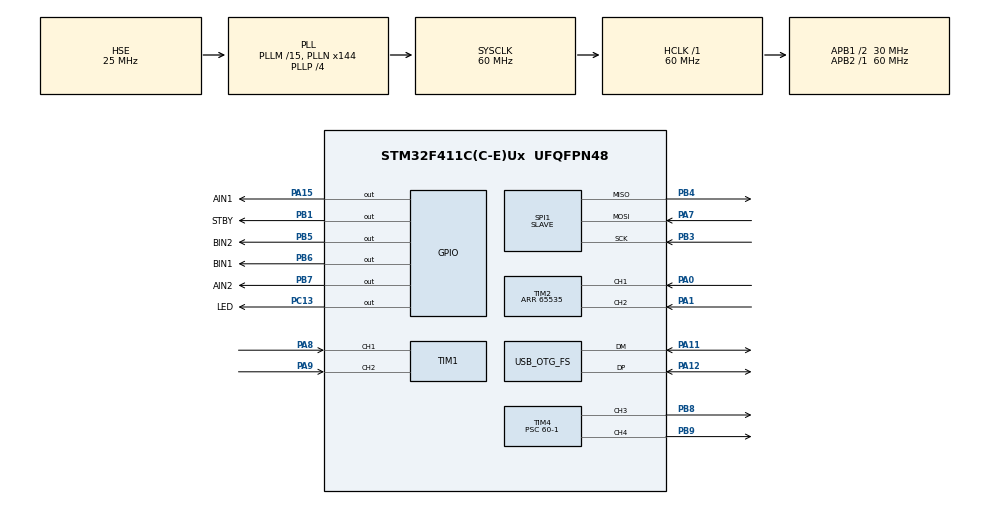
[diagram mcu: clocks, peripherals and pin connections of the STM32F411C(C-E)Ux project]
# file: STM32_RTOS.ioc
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Dma.Request0=SPI1_RX
Dma.Request1=SPI1_TX
Dma.SPI1_RX.0.Direction=DMA_PERIPH_TO_MEMORY
Dma.SPI1_RX.0.FIFOMode=DMA_FIFOMODE_DISABLE
Dma.SPI1_RX.0.Instance=DMA2_Stream0
Dma.SPI1_RX.0.MemDataAlignment=DMA_MDATAALIGN_BYTE
Dma.SPI1_RX.0.MemInc=DMA_MINC_ENABLE
Dma.SPI1_RX.0.Mode=DMA_CIRCULAR
Dma.SPI1_RX.0.PeriphDataAlignment=DMA_PDATAALIGN_BYTE
Dma.SPI1_RX.0.PeriphInc=DMA_PINC_DISABLE
Dma.SPI1_RX.0.Priority=DMA_PRIORITY_LOW
Dma.SPI1_TX.1.Direction=DMA_MEMORY_TO_PERIPH
Dma.SPI1_TX.1.FIFOMode=DMA_FIFOMODE_DISABLE
Dma.SPI1_TX.1.Instance=DMA2_Stream2
Dma.SPI1_TX.1.MemDataAlignment=DMA_MDATAALIGN_BYTE
Dma.SPI1_TX.1.MemInc=DMA_MINC_ENABLE
Dma.SPI1_TX.1.Mode=DMA_CIRCULAR
Dma.SPI1_TX.1.PeriphDataAlignment=DMA_PDATAALIGN_BYTE
Dma.SPI1_TX.1.PeriphInc=DMA_PINC_DISABLE
Dma.SPI1_TX.1.Priority=DMA_PRIORITY_LOW
FREERTOS.Events01=move,Dynamic,NULL;turn,Dynamic,NULL
FREERTOS.Tasks01=defaultTask,24,128,StartDefaultTask,Default,NULL,Dynamic,NULL,NULL;encoder_control,24,256,Start_encoder_control,Default,NULL,Dynamic,NULL,NULL;odometry_math,24,256,Start_odometry_math,Default,NULL,Dynamic,NULL,NULL;preempt_mission,16,256,Start_preempt_mission,Default,NULL,Dynamic,NULL,NULL;symple_command,16,256,Start_symple_command,Default,NULL,Dynamic,NULL,NULL;goto_coordenate,16,256,Start_goto_coordenates,Default,NULL,Dynamic,NULL,NULL;goto_angle,16,256,Start_goto_angle,Default,NULL,Dynamic,NULL,NULL
FREERTOS.configUSE_NEWLIB_REENTRANT=1
Mcu.Family=STM32F4
Mcu.Name=STM32F411C(C-E)Ux
Mcu.Package=UFQFPN48
NVIC.DMA2_Stream0_IRQn=true\:5\:0\:false\:false\:true\:true\:false\:true\:true
NVIC.DMA2_Stream2_IRQn=true\:5\:0\:false\:false\:true\:true\:false\:true\:true
NVIC.OTG_FS_IRQn=true\:5\:0\:false\:false\:true\:true\:false\:true\:true
NVIC.PriorityGroup=NVIC_PRIORITYGROUP_4
NVIC.TIM1_UP_TIM10_IRQn=true\:5\:0\:false\:false\:true\:false\:false\:true\:true
NVIC.TimeBase=TIM1_UP_TIM10_IRQn
NVIC.TimeBaseIP=TIM10
PA0-WKUP.Signal=S_TIM2_CH1_ETR
PA1.Signal=S_TIM2_CH2
PA11.Mode=Device_Only
PA11.Signal=USB_OTG_FS_DM
PA12.Mode=Device_Only
PA12.Signal=USB_OTG_FS_DP
PA15.GPIO_Label=AIN1
PA15.Signal=GPIO_Output
PA7.Mode=Full_Duplex_Slave
PA7.Signal=SPI1_MOSI
PA8.Signal=S_TIM1_CH1
PA9.Signal=S_TIM1_CH2
PB1.GPIO_Label=STBY
PB1.Signal=GPIO_Output
PB3.Mode=Full_Duplex_Slave
PB3.Signal=SPI1_SCK
PB4.Mode=Full_Duplex_Slave
PB4.Signal=SPI1_MISO
PB5.GPIO_Label=BIN2
PB5.Signal=GPIO_Output
PB6.GPIO_Label=BIN1
PB6.Signal=GPIO_Output
PB7.GPIO_Label=AIN2
PB7.Signal=GPIO_Output
PB8.Signal=S_TIM4_CH3
PB9.Signal=S_TIM4_CH4
PC13-ANTI_TAMP.GPIO_Label=LED
PC13-ANTI_TAMP.Signal=GPIO_Output
PC14-OSC32_IN.Mode=LSE-External-Oscillator
PC14-OSC32_IN.Signal=RCC_OSC32_IN
PC15-OSC32_OUT.Mode=LSE-External-Oscillator
PC15-OSC32_OUT.Signal=RCC_OSC32_OUT
PH0\ -\ OSC_IN.Mode=HSE-External-Oscillator
PH0\ -\ OSC_IN.Signal=RCC_OSC_IN
PH1\ -\ OSC_OUT.Mode=HSE-External-Oscillator
PH1\ -\ OSC_OUT.Signal=RCC_OSC_OUT
ProjectManager.HeapSize=0x200
ProjectManager.StackSize=0x400
ProjectManager.TargetToolchain=STM32CubeIDE
RCC.48MHZClocksFreq_Value=48000000
RCC.AHBFreq_Value=60000000
RCC.APB1CLKDivider=RCC_HCLK_DIV2
RCC.APB1Freq_Value=30000000
RCC.APB1TimFreq_Value=60000000
RCC.APB2Freq_Value=60000000
RCC.APB2TimFreq_Value=60000000
RCC.CortexFreq_Value=60000000
RCC.HCLKFreq_Value=60000000
RCC.HSE_VALUE=25000000
RCC.HSI_VALUE=16000000
RCC.PLLM=15
RCC.PLLN=144
RCC.PLLP=RCC_PLLP_DIV4
RCC.PLLQ=5
RCC.SYSCLKFreq_VALUE=60000000
RCC.SYSCLKSource=RCC_SYSCLKSOURCE_PLLCLK
RCC.VCOOutputFreq_Value=240000000
SH.S_TIM1_CH1.0=TIM1_CH1,Encoder_Interface
SH.S_TIM1_CH2.0=TIM1_CH2,Encoder_Interface
SH.S_TIM2_CH1_ETR.0=TIM2_CH1,Encoder_Interface
SH.S_TIM2_CH2.0=TIM2_CH2,Encoder_Interface
SH.S_TIM4_CH3.0=TIM4_CH3,PWM Generation3 CH3
SH.S_TIM4_CH4.0=TIM4_CH4,PWM Generation4 CH4
SPI1.Direction=SPI_DIRECTION_2LINES
SPI1.Mode=SPI_MODE_SLAVE
SPI1.VirtualType=VM_SLAVE
TIM1.EncoderMode=TIM_ENCODERMODE_TI12
TIM2.EncoderMode=TIM_ENCODERMODE_TI12
TIM2.Period=65535
TIM4.Channel-PWM\ Generation3\ CH3=TIM_CHANNEL_3
TIM4.Channel-PWM\ Generation4\ CH4=TIM_CHANNEL_4
TIM4.Period=1000
TIM4.Prescaler=60-1
USB_DEVICE.CLASS_NAME_FS=CDC
USB_DEVICE.VirtualMode=Cdc
USB_DEVICE.VirtualModeFS=Cdc_FS
USB_OTG_FS.VirtualMode=Device_Only
VP_FREERTOS_VS_CMSIS_V2.Mode=CMSIS_V2
VP_SYS_VS_tim10.Mode=TIM10
VP_USB_DEVICE_VS_USB_DEVICE_CDC_FS.Mode=CDC_FS
board=custom

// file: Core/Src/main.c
/* USER CODE BEGIN Header */
/**
  ******************************************************************************
  * @file           : main.c
  * @brief          : Main program body
  ******************************************************************************
  * @attention
  *
  * Copyright (c) 2024 STMicroelectronics.
  * All rights reserved.
  *
  * This software is licensed under terms that can be found in the LICENSE file
  * in the root directory of this software component.
  * If no LICENSE file comes with this software, it is provided AS-IS.
  *
  ******************************************************************************
  */
/* USER CODE END Header */
#include "main.h"
#include "cmsis_os.h"
#include "usb_device.h"

/* USER CODE BEGIN Includes */
#include <string.h>
#include <stdio.h>
#include "usbd_cdc_if.h"
#include <math.h>
/* USER CODE END Includes */

/* USER CODE BEGIN PTD */
typedef union {
	uint8_t buff[4];
	int32_t value;
} packet_buffer32_t;
typedef union {
	uint8_t buff[2];
	int16_t value;
} packet_buffer16_t;
/* USER CODE END PTD */

/* USER CODE BEGIN PD */
#define BUFFER_SIZE 18

#define PI 3.141592653589
#define SHAFT_PULSE_PER_ROT 28.0
#define GEAR_RATIO 210.0

#define PULSE_PER_REVOLUTION (GEAR_RATIO*SHAFT_PULSE_PER_ROT)
#define WHEEL_DIAMETER 45.5 //mm
#define WHEEL_DISTANCE 160.5 //mm
#define WHEEL_CIRCUMFERENCE PI * WHEEL_DIAMETER
#define DIST_CONVERSION WHEEL_CIRCUMFERENCE/PULSE_PER_REVOLUTION
#define WHEEL_RADIUS WHEEL_DIAMETER/2

/* USER CODE END PD */

SPI_HandleTypeDef hspi1;
DMA_HandleTypeDef hdma_spi1_rx;
DMA_HandleTypeDef hdma_spi1_tx;

TIM_HandleTypeDef htim1;
TIM_HandleTypeDef htim2;
TIM_HandleTypeDef htim4;

/* Definitions for defaultTask */
osThreadId_t defaultTaskHandle;
const osThreadAttr_t defaultTask_attributes = {
  .name = "defaultTask",
  .stack_size = 128 * 4,
  .priority = (osPriority_t) osPriorityNormal,
};
/* Definitions for encoder_control */
osThreadId_t encoder_controlHandle;
const osThreadAttr_t encoder_control_attributes = {
  .name = "encoder_control",
  .stack_size = 256 * 4,
  .priority = (osPriority_t) osPriorityNormal,
};
/* Definitions for odometry_math */
osThreadId_t odometry_mathHandle;
const osThreadAttr_t odometry_math_attributes = {
  .name = "odometry_math",
  .stack_size = 256 * 4,
  .priority = (osPriority_t) osPriorityNormal,
};
/* Definitions for preempt_mission */
osThreadId_t preempt_missionHandle;
const osThreadAttr_t preempt_mission_attributes = {
  .name = "preempt_mission",
  .stack_size = 256 * 4,
  .priority = (osPriority_t) osPriorityBelowNormal,
};
/* Definitions for symple_command */
osThreadId_t symple_commandHandle;
const osThreadAttr_t symple_command_attributes = {
  .name = "symple_command",
  .stack_size = 256 * 4,
  .priority = (osPriority_t) osPriorityBelowNormal,
};
/* Definitions for goto_coordenate */
osThreadId_t goto_coordenateHandle;
const osThreadAttr_t goto_coordenate_attributes = {
  .name = "goto_coordenate",
  .stack_size = 256 * 4,
  .priority = (osPriority_t) osPriorityBelowNormal,
};
/* Definitions for goto_angle */
osThreadId_t goto_angleHandle;
const osThreadAttr_t goto_angle_attributes = {
  .name = "goto_angle",
  .stack_size = 256 * 4,
  .priority = (osPriority_t) osPriorityBelowNormal,
};
/* Definitions for move */
osEventFlagsId_t moveHandle;
const osEventFlagsAttr_t move_attributes = {
  .name = "move"
};
/* Definitions for turn */
osEventFlagsId_t turnHandle;
const osEventFlagsAttr_t turn_attributes = {
  .name = "turn"
};
/* USER CODE BEGIN PV */
uint8_t RxBuffer[BUFFER_SIZE];
uint8_t TxBuffer[BUFFER_SIZE];

char ESP_mission = 'x';

int counter_R_encoder = 0;
int counter_L_encoder = 0;
int counter_R_ = 0;
int counter_L_ = 0;
int counter_error = 0;

int32_t delta_R;
int32_t delta_L;

double delta_R_encoder = 0;
double delta_L_encoder = 0;
double delta_distance = 0;
double delta_angle = 0;
double delta_x = 0;
double delta_y = 0;

double double_x_coord = 0;
double double_y_coord = 0;
double double_distance_total = 0;
double double_angle_rotation = 0;

int distance_target;
int true_distance_target;
int true_angle_rotation;
int true_angle_target;

packet_buffer16_t distance_total;
packet_buffer16_t x_coord;
packet_buffer16_t y_coord;
packet_buffer16_t angle_rotation;
packet_buffer16_t angle_target;
packet_buffer16_t x_target;
packet_buffer16_t y_target;
uint8_t velocity;
uint16_t speed;
uint16_t L_speed;
uint16_t R_speed;

int i = 0;
/* USER CODE END PV */

void SystemClock_Config(void);
static void MX_GPIO_Init(void);
static void MX_DMA_Init(void);
static void MX_SPI1_Init(void);
static void MX_TIM1_Init(void);
static void MX_TIM2_Init(void);
static void MX_TIM4_Init(void);
void StartDefaultTask(void *argument);
void Start_encoder_control(void *argument);
void Start_odometry_math(void *argument);
void Start_preempt_mission(void *argument);
void Start_symple_command(void *argument);
void Start_goto_coordenates(void *argument);
void Start_goto_angle(void *argument);

int main(void)
{

  /* MCU Configuration--------------------------------------------------------*/

  /* Reset of all peripherals, Initializes the Flash interface and the Systick. */
  HAL_Init();

  /* Configure the system clock */
  SystemClock_Config();

  /* Initialize all configured peripherals */
  MX_GPIO_Init();
  MX_DMA_Init();
  MX_SPI1_Init();
  MX_TIM1_Init();
  MX_TIM2_Init();
  MX_TIM4_Init();
  /* USER CODE BEGIN 2 */
  HAL_TIM_Encoder_Start(&htim1, TIM_CHANNEL_ALL);
  HAL_TIM_Encoder_Start(&htim2, TIM_CHANNEL_ALL);
  HAL_SPI_TransmitReceive_DMA(&hspi1, TxBuffer, RxBuffer, BUFFER_SIZE);

  HAL_TIM_Base_Start(&htim4);
  HAL_TIM_PWM_Start(&htim4, TIM_CHANNEL_3);
  HAL_TIM_PWM_Start(&htim4, TIM_CHANNEL_4);

  HAL_GPIO_WritePin(STBY_GPIO_Port, STBY_Pin, 1);

  TIM1->CNT = 1000;
  TIM2->CNT = 1000;
  /* USER CODE END 2 */

  /* Init scheduler */
  osKernelInitialize();

  /* Create the thread(s) */
  /* creation of defaultTask */
  defaultTaskHandle = osThreadNew(StartDefaultTask, NULL, &defaultTask_attributes);

  /* creation of encoder_control */
  encoder_controlHandle = osThreadNew(Start_encoder_control, NULL, &encoder_control_attributes);

  /* creation of odometry_math */
  odometry_mathHandle = osThreadNew(Start_odometry_math, NULL, &odometry_math_attributes);

  /* creation of preempt_mission */
  preempt_missionHandle = osThreadNew(Start_preempt_mission, NULL, &preempt_mission_attributes);

  /* creation of symple_command */
  symple_commandHandle = osThreadNew(Start_symple_command, NULL, &symple_command_attributes);

  /* creation of goto_coordenate */
  goto_coordenateHandle = osThreadNew(Start_goto_coordenates, NULL, &goto_coordenate_attributes);

  /* creation of goto_angle */
  goto_angleHandle = osThreadNew(Start_goto_angle, NULL, &goto_angle_attributes);

  /* Create the event(s) */
  /* creation of move */
  moveHandle = osEventFlagsNew(&move_attributes);

  /* creation of turn */
  turnHandle = osEventFlagsNew(&turn_attributes);

  /* Start scheduler */
  osKernelStart();

  /* We should never get here as control is now taken by the scheduler */

  /* Infinite loop */
  while (1)
  {

  }
}

void SystemClock_Config(void)
{
  RCC_OscInitTypeDef RCC_OscInitStruct = {0};
  RCC_ClkInitTypeDef RCC_ClkInitStruct = {0};

  /** Configure the main internal regulator output voltage
  */
  __HAL_RCC_PWR_CLK_ENABLE();
  __HAL_PWR_VOLTAGESCALING_CONFIG(PWR_REGULATOR_VOLTAGE_SCALE1);

  /** Initializes the RCC Oscillators according to the specified parameters
  * in the RCC_OscInitTypeDef structure.
  */
  RCC_OscInitStruct.OscillatorType = RCC_OSCILLATORTYPE_HSE;
  RCC_OscInitStruct.HSEState = RCC_HSE_ON;
  RCC_OscInitStruct.PLL.PLLState = RCC_PLL_ON;
  RCC_OscInitStruct.PLL.PLLSource = RCC_PLLSOURCE_HSE;
  RCC_OscInitStruct.PLL.PLLM = 15;
  RCC_OscInitStruct.PLL.PLLN = 144;
  RCC_OscInitStruct.PLL.PLLP = RCC_PLLP_DIV4;
  RCC_OscInitStruct.PLL.PLLQ = 5;
  if (HAL_RCC_OscConfig(&RCC_OscInitStruct) != HAL_OK)
  {
    Error_Handler();
  }

  /** Initializes the CPU, AHB and APB buses clocks
  */
  RCC_ClkInitStruct.ClockType = RCC_CLOCKTYPE_HCLK|RCC_CLOCKTYPE_SYSCLK
                              |RCC_CLOCKTYPE_PCLK1|RCC_CLOCKTYPE_PCLK2;
  RCC_ClkInitStruct.SYSCLKSource = RCC_SYSCLKSOURCE_PLLCLK;
  RCC_ClkInitStruct.AHBCLKDivider = RCC_SYSCLK_DIV1;
  RCC_ClkInitStruct.APB1CLKDivider = RCC_HCLK_DIV2;
  RCC_ClkInitStruct.APB2CLKDivider = RCC_HCLK_DIV1;

  if (HAL_RCC_ClockConfig(&RCC_ClkInitStruct, FLASH_LATENCY_1) != HAL_OK)
  {
    Error_Handler();
  }
}

static void MX_SPI1_Init(void)
{

  /* SPI1 parameter configuration*/
  hspi1.Instance = SPI1;
  hspi1.Init.Mode = SPI_MODE_SLAVE;
  hspi1.Init.Direction = SPI_DIRECTION_2LINES;
  hspi1.Init.DataSize = SPI_DATASIZE_8BIT;
  hspi1.Init.CLKPolarity = SPI_POLARITY_LOW;
  hspi1.Init.CLKPhase = SPI_PHASE_1EDGE;
  hspi1.Init.NSS = SPI_NSS_SOFT;
  hspi1.Init.FirstBit = SPI_FIRSTBIT_MSB;
  hspi1.Init.TIMode = SPI_TIMODE_DISABLE;
  hspi1.Init.CRCCalculation = SPI_CRCCALCULATION_DISABLE;
  hspi1.Init.CRCPolynomial = 10;
  if (HAL_SPI_Init(&hspi1) != HAL_OK)
  {
    Error_Handler();
  }

}

static void MX_TIM1_Init(void)
{

  TIM_Encoder_InitTypeDef sConfig = {0};
  TIM_MasterConfigTypeDef sMasterConfig = {0};

  htim1.Instance = TIM1;
  htim1.Init.Prescaler = 0;
  htim1.Init.CounterMode = TIM_COUNTERMODE_UP;
  htim1.Init.Period = 65535;
  htim1.Init.ClockDivision = TIM_CLOCKDIVISION_DIV1;
  htim1.Init.RepetitionCounter = 0;
  htim1.Init.AutoReloadPreload = TIM_AUTORELOAD_PRELOAD_DISABLE;
  sConfig.EncoderMode = TIM_ENCODERMODE_TI12;
  sConfig.IC1Polarity = TIM_ICPOLARITY_RISING;
  sConfig.IC1Selection = TIM_ICSELECTION_DIRECTTI;
  sConfig.IC1Prescaler = TIM_ICPSC_DIV1;
  sConfig.IC1Filter = 0;
  sConfig.IC2Polarity = TIM_ICPOLARITY_RISING;
  sConfig.IC2Selection = TIM_ICSELECTION_DIRECTTI;
  sConfig.IC2Prescaler = TIM_ICPSC_DIV1;
  sConfig.IC2Filter = 0;
  if (HAL_TIM_Encoder_Init(&htim1, &sConfig) != HAL_OK)
  {
    Error_Handler();
  }
  sMasterConfig.MasterOutputTrigger = TIM_TRGO_RESET;
  sMasterConfig.MasterSlaveMode = TIM_MASTERSLAVEMODE_DISABLE;
  if (HAL_TIMEx_MasterConfigSynchronization(&htim1, &sMasterConfig) != HAL_OK)
  {
    Error_Handler();
  }

}

static void MX_TIM2_Init(void)
{

  TIM_Encoder_InitTypeDef sConfig = {0};
  TIM_MasterConfigTypeDef sMasterConfig = {0};

  htim2.Instance = TIM2;
  htim2.Init.Prescaler = 0;
  htim2.Init.CounterMode = TIM_COUNTERMODE_UP;
  htim2.Init.Period = 65535;
  htim2.Init.ClockDivision = TIM_CLOCKDIVISION_DIV1;
  htim2.Init.AutoReloadPreload = TIM_AUTORELOAD_PRELOAD_DISABLE;
  sConfig.EncoderMode = TIM_ENCODERMODE_TI12;
  sConfig.IC1Polarity = TIM_ICPOLARITY_RISING;
  sConfig.IC1Selection = TIM_ICSELECTION_DIRECTTI;
  sConfig.IC1Prescaler = TIM_ICPSC_DIV1;
  sConfig.IC1Filter = 0;
  sConfig.IC2Polarity = TIM_ICPOLARITY_RISING;
  sConfig.IC2Selection = TIM_ICSELECTION_DIRECTTI;
  sConfig.IC2Prescaler = TIM_ICPSC_DIV1;
  sConfig.IC2Filter = 0;
  if (HAL_TIM_Encoder_Init(&htim2, &sConfig) != HAL_OK)
  {
    Error_Handler();
  }
  sMasterConfig.MasterOutputTrigger = TIM_TRGO_RESET;
  sMasterConfig.MasterSlaveMode = TIM_MASTERSLAVEMODE_DISABLE;
  if (HAL_TIMEx_MasterConfigSynchronization(&htim2, &sMasterConfig) != HAL_OK)
  {
    Error_Handler();
  }

}

static void MX_TIM4_Init(void)
{

  TIM_MasterConfigTypeDef sMasterConfig = {0};
  TIM_OC_InitTypeDef sConfigOC = {0};

  htim4.Instance = TIM4;
  htim4.Init.Prescaler = 60-1;
  htim4.Init.CounterMode = TIM_COUNTERMODE_UP;
  htim4.Init.Period = 1000;
  htim4.Init.ClockDivision = TIM_CLOCKDIVISION_DIV1;
  htim4.Init.AutoReloadPreload = TIM_AUTORELOAD_PRELOAD_DISABLE;
  if (HAL_TIM_PWM_Init(&htim4) != HAL_OK)
  {
    Error_Handler();
  }
  sMasterConfig.MasterOutputTrigger = TIM_TRGO_RESET;
  sMasterConfig.MasterSlaveMode = TIM_MASTERSLAVEMODE_DISABLE;
  if (HAL_TIMEx_MasterConfigSynchronization(&htim4, &sMasterConfig) != HAL_OK)
  {
    Error_Handler();
  }
  sConfigOC.OCMode = TIM_OCMODE_PWM1;
  sConfigOC.Pulse = 0;
  sConfigOC.OCPolarity = TIM_OCPOLARITY_HIGH;
  sConfigOC.OCFastMode = TIM_OCFAST_DISABLE;
  if (HAL_TIM_PWM_ConfigChannel(&htim4, &sConfigOC, TIM_CHANNEL_3) != HAL_OK)
  {
    Error_Handler();
  }
  if (HAL_TIM_PWM_ConfigChannel(&htim4, &sConfigOC, TIM_CHANNEL_4) != HAL_OK)
  {
    Error_Handler();
  }
  HAL_TIM_MspPostInit(&htim4);

}

static void MX_DMA_Init(void)
{

  /* DMA controller clock enable */
  __HAL_RCC_DMA2_CLK_ENABLE();

  /* DMA interrupt init */
  /* DMA2_Stream0_IRQn interrupt configuration */
  HAL_NVIC_SetPriority(DMA2_Stream0_IRQn, 5, 0);
  HAL_NVIC_EnableIRQ(DMA2_Stream0_IRQn);
  /* DMA2_Stream2_IRQn interrupt configuration */
  HAL_NVIC_SetPriority(DMA2_Stream2_IRQn, 5, 0);
  HAL_NVIC_EnableIRQ(DMA2_Stream2_IRQn);

}

static void MX_GPIO_Init(void)
{
  GPIO_InitTypeDef GPIO_InitStruct = {0};

  /* GPIO Ports Clock Enable */
  __HAL_RCC_GPIOC_CLK_ENABLE();
  __HAL_RCC_GPIOH_CLK_ENABLE();
  __HAL_RCC_GPIOA_CLK_ENABLE();
  __HAL_RCC_GPIOB_CLK_ENABLE();

  /*Configure GPIO pin Output Level */
  HAL_GPIO_WritePin(LED_GPIO_Port, LED_Pin, GPIO_PIN_RESET);

  /*Configure GPIO pin Output Level */
  HAL_GPIO_WritePin(GPIOB, STBY_Pin|BIN2_Pin|BIN1_Pin|AIN2_Pin, GPIO_PIN_RESET);

  /*Configure GPIO pin Output Level */
  HAL_GPIO_WritePin(AIN1_GPIO_Port, AIN1_Pin, GPIO_PIN_RESET);

  /*Configure GPIO pin : LED_Pin */
  GPIO_InitStruct.Pin = LED_Pin;
  GPIO_InitStruct.Mode = GPIO_MODE_OUTPUT_PP;
  GPIO_InitStruct.Pull = GPIO_NOPULL;
  GPIO_InitStruct.Speed = GPIO_SPEED_FREQ_LOW;
  HAL_GPIO_Init(LED_GPIO_Port, &GPIO_InitStruct);

  /*Configure GPIO pins : STBY_Pin BIN2_Pin BIN1_Pin AIN2_Pin */
  GPIO_InitStruct.Pin = STBY_Pin|BIN2_Pin|BIN1_Pin|AIN2_Pin;
  GPIO_InitStruct.Mode = GPIO_MODE_OUTPUT_PP;
  GPIO_InitStruct.Pull = GPIO_NOPULL;
  GPIO_InitStruct.Speed = GPIO_SPEED_FREQ_LOW;
  HAL_GPIO_Init(GPIOB, &GPIO_InitStruct);

  /*Configure GPIO pin : AIN1_Pin */
  GPIO_InitStruct.Pin = AIN1_Pin;
  GPIO_InitStruct.Mode = GPIO_MODE_OUTPUT_PP;
  GPIO_InitStruct.Pull = GPIO_NOPULL;
  GPIO_InitStruct.Speed = GPIO_SPEED_FREQ_LOW;
  HAL_GPIO_Init(AIN1_GPIO_Port, &GPIO_InitStruct);

}

/* USER CODE BEGIN 4 */
void HAL_SPI_TxRxCpltCallback(SPI_HandleTypeDef * hspi){
	HAL_GPIO_TogglePin(LED_GPIO_Port, LED_Pin);

	switch (RxBuffer[4]) {
		case 'F':
			ESP_mission = 'F';
			speed = ((uint16_t) RxBuffer[5]) *10;
			L_speed = ((uint16_t) RxBuffer[5]) *10;
			R_speed = ((uint16_t) RxBuffer[5]) *10;
			osThreadFlagsSet(preempt_missionHandle, 0x01);
			break;
		case 'B':
			ESP_mission = 'B';
			speed = ((uint16_t) RxBuffer[5]) *10;
			L_speed = ((uint16_t) RxBuffer[5]) *10;
			R_speed = ((uint16_t) RxBuffer[5]) *10;
			break;
		case 'L':
			ESP_mission = 'L';
			speed = ((uint16_t) RxBuffer[5]) *10;
			L_speed = ((uint16_t) RxBuffer[5]) *10;
			R_speed = ((uint16_t) RxBuffer[5]) *10;
			break;
		case 'R':
			ESP_mission = 'R';
			speed = ((uint16_t) RxBuffer[5]) *10;
			L_speed = ((uint16_t) RxBuffer[5]) *10;
			R_speed = ((uint16_t) RxBuffer[5]) *10;
			break;
		case 'S':
			ESP_mission = 'S';
			speed = ((uint16_t) RxBuffer[5]) *10;
			L_speed = ((uint16_t) RxBuffer[5]) *10;
			R_speed = ((uint16_t) RxBuffer[5]) *10;
			break;
		case 'T':
			ESP_mission = 'T';
			speed = ((uint16_t) RxBuffer[5]) *10;
			L_speed = ((uint16_t) RxBuffer[5]) *10;
			R_speed = ((uint16_t) RxBuffer[5]) *10;
			angle_target.buff[0] = RxBuffer[6];
			angle_target.buff[1] = RxBuffer[7];

			osThreadFlagsSet(preempt_missionHandle, 0x01);
			break;
		case 'M':
			ESP_mission = 'M';
			speed = ((uint16_t) RxBuffer[5]) *10;
			L_speed = ((uint16_t) RxBuffer[5]) *10;
			R_speed = ((uint16_t) RxBuffer[5]) *10;
			x_target.buff[0] = RxBuffer[6];
			x_target.buff[1] = RxBuffer[7];
			y_target.buff[0] = RxBuffer[8];
			y_target.buff[1] = RxBuffer[9];

			osThreadFlagsSet(preempt_missionHandle, 0x01);
			break;
		case 'D':
			TxBuffer[4] = 'D';
			TxBuffer[5] = distance_total.buff[0];
			TxBuffer[6] = distance_total.buff[1];
			break;
		case 'C':
			TxBuffer[4] = 'C';
			TxBuffer[5] = x_coord.buff[0];
			TxBuffer[6] = x_coord.buff[1];
			TxBuffer[7] = y_coord.buff[0];
			TxBuffer[8] = y_coord.buff[1];
			break;
		case 'V':
			TxBuffer[4] = 'V';
			TxBuffer[5] = velocity;
			break;
		case 'P':
			TxBuffer[4] = 'P';
			TxBuffer[5] = x_coord.buff[0];
			TxBuffer[6] = x_coord.buff[1];
			TxBuffer[7] = y_coord.buff[0];
			TxBuffer[8] = y_coord.buff[1];
			TxBuffer[9] = angle_rotation.buff[0];
			TxBuffer[10] = angle_rotation.buff[1];
			break;
		default:
			//ESP_mission = 'x';
			break;
		}

}
/* USER CODE END 4 */

void StartDefaultTask(void *argument)
{
  /* init code for USB_DEVICE */
  MX_USB_DEVICE_Init();
  for(;;)
  {
    osDelay(1);
  }
}

void Start_encoder_control(void *argument)
{
  /* USER CODE BEGIN Start_encoder_control */
//	int R_counter = 0;
//	int L_counter = 0;
//	int delta_R_counter = 0;
//	int delta_L_counter = 0;
//	int velocity_t = 0;

  /* Infinite loop */
  for(;;)
  {
	/*delta_R_counter = TIM2->CNT - R_counter;
	delta_L_counter = TIM1->CNT - L_counter;
	R_counter = TIM2->CNT;
	L_counter = TIM1->CNT;

	if(abs(delta_R_counter) > 60000){
	  if(delta_R_counter < 0){
		  delta_R_encoder = - (65535 + delta_R_counter);
	  } else{
		  delta_R_encoder = - (delta_R_counter - 65535);
	  }
	}else{
		delta_R_encoder = - delta_R_counter;
	}
	  if(abs(delta_L_counter) > 60000){
		  if(delta_L_counter < 0){
			  delta_L_encoder = - (65535 + delta_L_counter);
		  } else{
			  delta_L_encoder = - (delta_L_counter - 65535);
		  }
	  }else{
		delta_L_encoder = - delta_L_counter;
	  }

	  counter_R_encoder += delta_R_encoder;
	  counter_L_encoder += delta_L_encoder;*/

	  delta_L = (int32_t) (TIM1->CNT - 1000);
	  delta_R = (int32_t) (TIM2->CNT - 1000);
	  TIM1->CNT = 1000;
	  TIM2->CNT = 1000;

	  float d_L = delta_L*DIST_CONVERSION;
	  float d_R = delta_R*DIST_CONVERSION;

	  float d = (d_L + d_R)/2;
	  float d_theta = (d_R - d_L)/WHEEL_DISTANCE;

	  double_x_coord += d * cos(double_angle_rotation + (d_theta/2));
	  double_y_coord += d * sin(double_angle_rotation + (d_theta/2));

	  double_angle_rotation += d_theta;
	  if(double_angle_rotation > 2*PI){
		  double_angle_rotation -= 2*PI;
	  }
	  if(double_angle_rotation < -2*PI){
		  double_angle_rotation += 2*PI;
	  }

	  angle_rotation.value = (int16_t) (double_angle_rotation *180 / PI);
	  x_coord.value = (int16_t) double_x_coord;
	  y_coord.value = (int16_t) double_y_coord;

	  double_distance_total += d;
	  distance_total.value = (int16_t) double_distance_total;

	  /*delta_angle = (double) (((delta_R_encoder - delta_L_encoder) * 0.065) / 1.6);
	  double_angle_rotation += delta_angle;
	  angle_rotation.value = (int16_t) double_angle_rotation;

	  delta_distance = (double) (((delta_R_encoder + delta_L_encoder) * 0.12) / 2);
	  double_distance_total += delta_distance;
	  distance_total.value = (int16_t) double_distance_total;

	  delta_x = (double) (delta_distance * cos(double_angle_rotation * M_PI / 180));
      delta_y = (double) (delta_distance * sin(double_angle_rotation * M_PI / 180));
	  double_x_coord += delta_x;
	  double_y_coord += delta_y;
	  x_coord.value = (int16_t) double_x_coord;
	  y_coord.value = (int16_t) double_y_coord;*/

//	  velocity = (int) (delta_distance / (HAL_GetTick() - velocity_t));
//	  velocity_t = HAL_GetTick();

	osDelay(10);
  }
  /* USER CODE END Start_encoder_control */
}

void Start_odometry_math(void *argument)
{
  for(;;)
  {
	  osDelay(1);
  }
}

void Start_preempt_mission(void *argument)
{
  /* USER CODE BEGIN Start_preempt_mission */
  /* Infinite loop */
  for(;;)
  {
	  osThreadFlagsWait(0x01, osFlagsWaitAny, osWaitForever);
	  if(ESP_mission == 'M'){
		angle_target.value = (int) ((atan2(y_target.value,x_target.value)* 180 / M_PI) + angle_rotation.value);
		distance_target = (int) (sqrt(pow(y_target.value, 2) + pow(x_target.value,2)) + distance_total.value);

		osThreadResume(goto_coordenateHandle);
		osThreadResume(goto_angleHandle);
	  }else if(ESP_mission == 'T'){
		osThreadResume(goto_angleHandle);
	  }else if(ESP_mission == 'F'){
		angle_target.value = angle_rotation.value;
		osThreadResume(goto_angleHandle);
	  }

    osDelay(1);
  }
  /* USER CODE END Start_preempt_mission */
}

void Start_symple_command(void *argument)
{
  /* USER CODE BEGIN Start_symple_command */
  /* Infinite loop */
  for(;;)
  {
	switch(ESP_mission){
	case 'F':
	  HAL_GPIO_WritePin(AIN1_GPIO_Port, AIN1_Pin, 1);
	  HAL_GPIO_WritePin(AIN2_GPIO_Port, AIN2_Pin, 0);
	  HAL_GPIO_WritePin(BIN1_GPIO_Port, BIN1_Pin, 0);
	  HAL_GPIO_WritePin(BIN2_GPIO_Port, BIN2_Pin, 1);
	  __HAL_TIM_SET_COMPARE(&htim4, TIM_CHANNEL_3, L_speed);
	  __HAL_TIM_SET_COMPARE(&htim4, TIM_CHANNEL_4, R_speed);
		break;
	case 'B':
	  HAL_GPIO_WritePin(AIN1_GPIO_Port, AIN1_Pin, 0);
	  HAL_GPIO_WritePin(AIN2_GPIO_Port, AIN2_Pin, 1);
	  HAL_GPIO_WritePin(BIN1_GPIO_Port, BIN1_Pin, 1);
	  HAL_GPIO_WritePin(BIN2_GPIO_Port, BIN2_Pin, 0);
	  __HAL_TIM_SET_COMPARE(&htim4, TIM_CHANNEL_3, L_speed);
	  __HAL_TIM_SET_COMPARE(&htim4, TIM_CHANNEL_4, R_speed);
		break;
	case 'L':
		  HAL_GPIO_WritePin(AIN1_GPIO_Port, AIN1_Pin, 0);
		  HAL_GPIO_WritePin(AIN2_GPIO_Port, AIN2_Pin, 1);
		  HAL_GPIO_WritePin(BIN1_GPIO_Port, BIN1_Pin, 0);
		  HAL_GPIO_WritePin(BIN2_GPIO_Port, BIN2_Pin, 1);

	  __HAL_TIM_SET_COMPARE(&htim4, TIM_CHANNEL_3, L_speed);
	  __HAL_TIM_SET_COMPARE(&htim4, TIM_CHANNEL_4, R_speed);
		break;
	case 'R':
		  HAL_GPIO_WritePin(AIN1_GPIO_Port, AIN1_Pin, 1);
		  HAL_GPIO_WritePin(AIN2_GPIO_Port, AIN2_Pin, 0);
		  HAL_GPIO_WritePin(BIN1_GPIO_Port, BIN1_Pin, 1);
		  HAL_GPIO_WritePin(BIN2_GPIO_Port, BIN2_Pin, 0);
	  __HAL_TIM_SET_COMPARE(&htim4, TIM_CHANNEL_3, L_speed);
	  __HAL_TIM_SET_COMPARE(&htim4, TIM_CHANNEL_4, R_speed);
		break;
	case 'S':
	  HAL_GPIO_WritePin(AIN1_GPIO_Port, AIN1_Pin, 0);
	  HAL_GPIO_WritePin(AIN2_GPIO_Port, AIN2_Pin, 0);
	  HAL_GPIO_WritePin(BIN1_GPIO_Port, BIN1_Pin, 0);
	  HAL_GPIO_WritePin(BIN2_GPIO_Port, BIN2_Pin, 0);
	  __HAL_TIM_SET_COMPARE(&htim4, TIM_CHANNEL_3, L_speed);
	  __HAL_TIM_SET_COMPARE(&htim4, TIM_CHANNEL_4, R_speed);
	  osThreadSuspend(goto_angleHandle);
		break;
	default:
		break;
	}

    osDelay(10);
  }
  /* USER CODE END Start_symple_command */
}

void Start_goto_coordenates(void *argument)
{
  /* USER CODE BEGIN Start_goto_coordenates */
  osThreadSuspend(goto_coordenateHandle);
  /* Infinite loop */
  for(;;)
  {
	if(ESP_mission == 'M'){
		true_distance_target = -(distance_total.value - distance_target);
		if(!(true_distance_target <= 10) || !(true_distance_target >= -10)){
			HAL_GPIO_WritePin(AIN1_GPIO_Port, AIN1_Pin, 1);
			HAL_GPIO_WritePin(AIN2_GPIO_Port, AIN2_Pin, 0);
			HAL_GPIO_WritePin(BIN1_GPIO_Port, BIN1_Pin, 0);
			HAL_GPIO_WritePin(BIN2_GPIO_Port, BIN2_Pin, 1);
			__HAL_TIM_SET_COMPARE(&htim4, TIM_CHANNEL_3, L_speed);
			__HAL_TIM_SET_COMPARE(&htim4, TIM_CHANNEL_4, R_speed);
		  } else {
			HAL_GPIO_WritePin(AIN1_GPIO_Port, AIN1_Pin, 0);
			HAL_GPIO_WritePin(AIN2_GPIO_Port, AIN2_Pin, 0);
			HAL_GPIO_WritePin(BIN1_GPIO_Port, BIN1_Pin, 0);
			HAL_GPIO_WritePin(BIN2_GPIO_Port, BIN2_Pin, 0);
			__HAL_TIM_SET_COMPARE(&htim4, TIM_CHANNEL_3, 0);
			__HAL_TIM_SET_COMPARE(&htim4, TIM_CHANNEL_4, 0);
			osThreadSuspend(goto_coordenateHandle);
			osThreadSuspend(goto_angleHandle);
		  }

		osDelay(20);
	}

  }
  /* USER CODE END Start_goto_coordenates */
}

void Start_goto_angle(void *argument)
{
  /* USER CODE BEGIN Start_goto_angle */
  osThreadSuspend(goto_angleHandle);
  int direction_adjustment = 0;
  /* Infinite loop */
  for(;;)
  {
	if(ESP_mission == 'M'){
		true_angle_target = - (angle_rotation.value - angle_target.value);
		if(!(true_angle_target <= 1) || !(true_angle_target >= -1)){
		  if((true_angle_target) > 0){
			HAL_GPIO_WritePin(AIN1_GPIO_Port, AIN1_Pin, 0);
			HAL_GPIO_WritePin(AIN2_GPIO_Port, AIN2_Pin, 1);
			HAL_GPIO_WritePin(BIN1_GPIO_Port, BIN1_Pin, 0);
			HAL_GPIO_WritePin(BIN2_GPIO_Port, BIN2_Pin, 1);
		  }else {
			HAL_GPIO_WritePin(AIN1_GPIO_Port, AIN1_Pin, 1);
			HAL_GPIO_WritePin(AIN2_GPIO_Port, AIN2_Pin, 0);
			HAL_GPIO_WritePin(BIN1_GPIO_Port, BIN1_Pin, 1);
			HAL_GPIO_WritePin(BIN2_GPIO_Port, BIN2_Pin, 0);
		  }
		  __HAL_TIM_SET_COMPARE(&htim4, TIM_CHANNEL_3, ((int) L_speed  *  (0.4+(pow(abs(true_angle_target),1.5) / 360.0))));
		  __HAL_TIM_SET_COMPARE(&htim4, TIM_CHANNEL_4, ((int) R_speed  *  (0.4+(pow(abs(true_angle_target),1.5) / 360.0))));
	  }
	  osDelay(20);

	}

	if(ESP_mission == 'T'){

		true_angle_rotation = angle_rotation.value - 360.0 * (int)(angle_rotation.value / 360.0);
		true_angle_target = -(true_angle_rotation - angle_target.value);
		if(!(true_angle_target <= 1) || !(true_angle_target >= -1)){
		  if((true_angle_target) < 0){
			HAL_GPIO_WritePin(AIN1_GPIO_Port, AIN1_Pin, 1);
			HAL_GPIO_WritePin(AIN2_GPIO_Port, AIN2_Pin, 0);
			HAL_GPIO_WritePin(BIN1_GPIO_Port, BIN1_Pin, 1);
			HAL_GPIO_WritePin(BIN2_GPIO_Port, BIN2_Pin, 0);
		  }else {
			HAL_GPIO_WritePin(AIN1_GPIO_Port, AIN1_Pin, 0);
			HAL_GPIO_WritePin(AIN2_GPIO_Port, AIN2_Pin, 1);
			HAL_GPIO_WritePin(BIN1_GPIO_Port, BIN1_Pin, 0);
			HAL_GPIO_WritePin(BIN2_GPIO_Port, BIN2_Pin, 1);
		  }
		  __HAL_TIM_SET_COMPARE(&htim4, TIM_CHANNEL_3, ((int) L_speed  *  (0.4+(pow(abs(true_angle_target),1.5) / 360.0))));
		  __HAL_TIM_SET_COMPARE(&htim4, TIM_CHANNEL_4, ((int) R_speed  *  (0.4+(pow(abs(true_angle_target),1.5) / 360.0))));
	  }else{
		  HAL_GPIO_WritePin(AIN1_GPIO_Port, AIN1_Pin, 0);
		  HAL_GPIO_WritePin(AIN2_GPIO_Port, AIN2_Pin, 0);
		  HAL_GPIO_WritePin(BIN1_GPIO_Port, BIN1_Pin, 0);
		  HAL_GPIO_WritePin(BIN2_GPIO_Port, BIN2_Pin, 0);
		  __HAL_TIM_SET_COMPARE(&htim4, TIM_CHANNEL_3, 0);
		  __HAL_TIM_SET_COMPARE(&htim4, TIM_CHANNEL_4, 0);
		  osThreadSuspend(goto_angleHandle);
	  }
		osDelay(20);

	}

	if(ESP_mission == 'F'){

		true_angle_target = (angle_rotation.value - angle_target.value);
		if(!(true_angle_target <= 0) || !(true_angle_target >= 0)){
			i++;
			direction_adjustment = 20 * abs(true_angle_target);
			direction_adjustment = (direction_adjustment > 0) * (direction_adjustment < (speed/2)) * direction_adjustment + (direction_adjustment >= (speed/2)) * (speed/2);
			if((true_angle_target) > 0){
				// Turn right: Increase right speed, decrease left speed
				L_speed = speed + direction_adjustment;
				R_speed = speed - direction_adjustment;
			} else {
				// Turn left: Increase left speed, decrease right speed
				R_speed = speed + direction_adjustment;
				L_speed = speed - direction_adjustment;
			}
		  }else {
		  L_speed = speed;
		  R_speed = speed;
		  }

	  osDelay(20);
	}
  }
  /* USER CODE END Start_goto_angle */
}

void HAL_TIM_PeriodElapsedCallback(TIM_HandleTypeDef *htim)
{
  if (htim->Instance == TIM10) {
    HAL_IncTick();
  }
}

void Error_Handler(void)
{
  __disable_irq();
  while (1)
  {
  }
}
